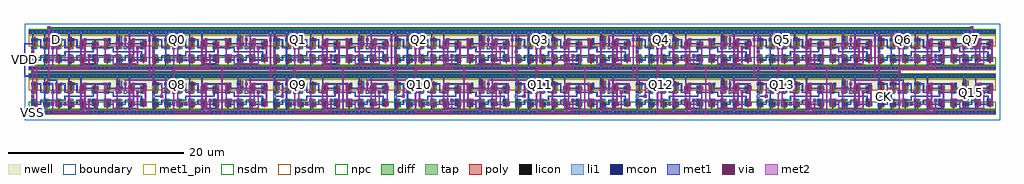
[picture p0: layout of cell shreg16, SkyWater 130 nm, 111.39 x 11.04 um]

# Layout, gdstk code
import gdstk
lib = gdstk.Library(unit=1e-6, precision=1e-09)
def R(c, l, rs):  # rectangles x0, y0, x1, y1
    for r in rs: c.add(gdstk.rectangle(r[:2], r[2:], *l))
def A(c, l, x, y, w, h, nx, ny, dx, dy):  # array of equal rectangles
    R(c, l, [(x+i*dx, y+j*dy, x+i*dx+w, y+j*dy+h) for i in range(nx) for j in range(ny)])
nwell = (64, 20)
diff = (65, 20)
tap = (65, 44)
poly = (66, 20)
licon = (66, 44)
li1 = (67, 20)
mcon = (67, 44)
met1_pin = (68, 16)
met1 = (68, 20)
via = (68, 44)
met2 = (69, 20)
nsdm = (93, 44)
psdm = (94, 20)
npc = (95, 20)
boundary = (235, 4)

dff = lib.new_cell('dff')
R(dff, nwell, [(0,2.44,13.8,4.465)])
A(dff, diff, 0.335, 0.605, 0.71, 0.5, 4, 1, 1.38, 0)
R(dff, diff, [(9.995,0.455,10.705,1.105), (8.615,0.605,9.325,1.105), (5.855,0.685,6.565,1.105), (7.235,0.685,7.945,1.105), (11.375,0.685,12.085,1.105), (12.755,0.685,13.465,1.105), (0.335,2.62,1.045,3.42), (1.715,2.62,2.425,3.42), (3.095,2.62,3.805,3.12), (4.475,2.62,5.185,3.42), (5.855,2.62,6.565,3.04), (7.235,2.62,7.945,3.04), (8.615,2.62,9.325,3.12), (9.995,2.62,10.705,3.62), (11.375,2.62,12.085,3.04), (12.755,2.62,13.465,3.04)])
R(dff, tap, [(0.18,-0.145,13.62,0.145), (0.18,3.995,13.62,4.285)])
A(dff, poly, 0.615, 0.475, 0.15, 0.905, 4, 1, 1.38, 0)
A(dff, poly, 0.525, 1.245, 0.33, 0.27, 10, 2, 1.38, 0.92)
R(dff, poly, [(10.275,0.325,10.425,1.38), (8.895,0.475,9.045,1.38), (6.135,0.555,6.285,1.38), (7.515,0.555,7.665,1.38), (11.655,0.555,11.805,1.38), (13.035,0.555,13.185,1.38), (0.615,2.3,0.765,3.55), (1.995,2.3,2.145,3.55), (3.375,2.3,3.525,3.25), (4.755,2.3,4.905,3.55), (6.135,2.3,6.285,3.17), (7.515,2.3,7.665,3.17), (8.895,2.3,9.045,3.25), (10.275,2.3,10.425,3.75), (11.655,2.3,11.805,3.17), (13.035,2.3,13.185,3.17)])
A(dff, licon, 0.605, -0.085, 0.17, 0.17, 28, 2, 0.46, 4.14)
A(dff, licon, 0.605, 1.295, 0.17, 0.17, 10, 2, 1.38, 0.92)
A(dff, licon, 10.035, 2.695, 0.17, 0.17, 1, 3, 0, 0.34)
A(dff, licon, 10.495, 2.695, 0.17, 0.17, 1, 3, 0, 0.34)
R(dff, licon, [(10.035,0.525,10.205,0.695), (10.495,0.525,10.665,0.695), (0.375,0.77,0.545,0.94), (0.835,0.77,1.005,0.94), (1.755,0.77,1.925,0.94), (2.215,0.77,2.385,0.94), (3.135,0.77,3.305,0.94), (3.595,0.77,3.765,0.94), (4.515,0.77,4.685,0.94), (4.975,0.77,5.145,0.94), (8.655,0.77,8.825,0.94), (9.115,0.77,9.285,0.94), (5.895,0.81,6.065,0.98), (6.355,0.81,6.525,0.98), (7.275,0.81,7.445,0.98), (7.735,0.81,7.905,0.98), (11.415,0.81,11.585,0.98), (11.875,0.81,12.045,0.98), (12.795,0.81,12.965,0.98), (13.255,0.81,13.425,0.98), (10.035,0.865,10.205,1.035), (10.495,0.865,10.665,1.035), (5.895,2.745,6.065,2.915), (6.355,2.745,6.525,2.915), (7.275,2.745,7.445,2.915), (7.735,2.745,7.905,2.915), (11.415,2.745,11.585,2.915), (11.875,2.745,12.045,2.915), (12.795,2.745,12.965,2.915), (13.255,2.745,13.425,2.915), (0.375,2.765,0.545,2.935), (0.835,2.765,1.005,2.935), (1.755,2.765,1.925,2.935), (2.215,2.765,2.385,2.935), (4.515,2.765,4.685,2.935), (4.975,2.765,5.145,2.935), (3.135,2.785,3.305,2.955), (3.595,2.785,3.765,2.955), (8.655,2.785,8.825,2.955), (9.115,2.785,9.285,2.955), (0.375,3.105,0.545,3.275), (0.835,3.105,1.005,3.275), (1.755,3.105,1.925,3.275), (2.215,3.105,2.385,3.275), (4.515,3.105,4.685,3.275), (4.975,3.105,5.145,3.275)])
A(dff, li1, 0.375, 1.295, 0.63, 0.17, 10, 2, 1.38, 0.92)
R(dff, li1, [(0,-0.085,13.8,0.085), (10.035,0.445,10.205,1.115), (10.495,0.445,10.665,1.115), (0.375,0.69,0.545,1.02), (0.835,0.69,1.005,1.02), (1.755,0.69,1.925,1.02), (2.215,0.69,2.385,1.02), (3.135,0.69,3.305,1.02), (3.595,0.69,3.765,1.02), (4.515,0.69,4.685,1.02), (4.975,0.69,5.145,1.02), (8.655,0.69,8.825,1.02), (9.115,0.69,9.285,1.02), (5.895,0.73,6.065,1.06), (6.355,0.73,6.525,1.06), (7.275,0.73,7.445,1.06), (7.735,0.73,7.905,1.06), (11.415,0.73,11.585,1.06), (11.875,0.73,12.045,1.06), (12.795,0.73,12.965,1.06), (13.255,0.73,13.425,1.06), (10.035,2.615,10.205,3.625), (10.495,2.615,10.665,3.625), (5.895,2.665,6.065,2.995), (6.355,2.665,6.525,2.995), (7.275,2.665,7.445,2.995), (7.735,2.665,7.905,2.995), (11.415,2.665,11.585,2.995), (11.875,2.665,12.045,2.995), (12.795,2.665,12.965,2.995), (13.255,2.665,13.425,2.995), (0.375,2.685,0.545,3.355), (0.835,2.685,1.005,3.355), (1.755,2.685,1.925,3.355), (2.215,2.685,2.385,3.355), (4.515,2.685,4.685,3.355), (4.975,2.685,5.145,3.355), (3.135,2.705,3.305,3.305), (3.595,2.705,3.765,3.305), (8.655,2.705,8.825,3.305), (9.115,2.705,9.285,3.305), (0,4.055,13.8,4.225)])
A(dff, mcon, 0.145, -0.085, 0.17, 0.17, 30, 2, 0.46, 4.14)
A(dff, mcon, 0.375, 1.295, 0.17, 0.17, 10, 2, 1.38, 0.92)
R(dff, mcon, [(0.375,0.835,0.545,1.005), (0.835,0.835,1.005,1.005), (1.755,0.835,1.925,1.005), (2.215,0.835,2.385,1.005), (3.135,0.835,3.305,1.005), (3.595,0.835,3.765,1.005), (4.515,0.835,4.685,1.005), (4.975,0.835,5.145,1.005), (5.895,0.835,6.065,1.005), (6.355,0.835,6.525,1.005), (7.275,0.835,7.445,1.005), (7.735,0.835,7.905,1.005), (8.655,0.835,8.825,1.005), (9.115,0.835,9.285,1.005), (10.035,0.835,10.205,1.005), (10.495,0.835,10.665,1.005), (11.415,0.835,11.585,1.005), (11.875,0.835,12.045,1.005), (12.795,0.835,12.965,1.005), (13.255,0.835,13.425,1.005), (5.895,2.675,6.065,2.845), (6.355,2.675,6.525,2.845), (7.275,2.675,7.445,2.845), (7.735,2.675,7.905,2.845), (10.495,2.675,10.665,2.845), (11.415,2.675,11.585,2.845), (11.875,2.675,12.045,2.845), (12.795,2.675,12.965,2.845), (13.255,2.675,13.425,2.845), (0.375,3.135,0.545,3.305), (0.835,3.135,1.005,3.305), (1.755,3.135,1.925,3.305), (2.215,3.135,2.385,3.305), (3.135,3.135,3.305,3.305), (3.595,3.135,3.765,3.305), (4.515,3.135,4.685,3.305), (4.975,3.135,5.145,3.305), (8.655,3.135,8.825,3.305), (9.115,3.135,9.285,3.305), (10.035,3.135,10.205,3.305)])
R(dff, met1_pin, [(0.315,-0.15,0.605,0.15), (0.3,1.68,0.62,2), (10.88,2.14,11.2,2.46), (3.06,3.06,3.38,3.38), (0.315,3.99,0.605,4.29)])
A(dff, met1, 0.85, 0.85, 0.6, 0.14, 4, 2, 1.38, 2.3)
A(dff, met1, 1.31, 0.85, 0.14, 0.6, 3, 1, 4.14, 0)
A(dff, met1, 0.315, 1.235, 0.29, 0.29, 10, 2, 1.38, 0.92)
A(dff, met1, 1.31, 2.23, 0.14, 1.06, 4, 1, 1.38, 0)
A(dff, met1, 1.31, 2.23, 0.6, 0.14, 4, 1, 1.38, 0)
A(dff, met1, 6.37, 2.69, 1.06, 0.14, 3, 1, 2.76, 0)
R(dff, met1, [(0,-0.15,13.8,0.15), (0.39,-0.07,0.53,0.99), (0.39,-0.07,0.53,0.07), (1.77,-0.07,1.91,0.99), (1.77,-0.07,1.91,0.07), (4.53,-0.07,4.67,0.99), (4.53,-0.07,4.67,0.07), (5.91,-0.07,6.05,0.99), (5.91,-0.07,6.05,0.07), (10.05,-0.07,10.19,0.99), (10.05,-0.07,10.19,0.07), (11.43,-0.07,11.57,0.99), (11.43,-0.07,11.57,0.07), (6.28,0.3,6.6,0.62), (6.37,0.39,7.89,0.53), (7.75,0.39,7.89,0.99), (2.6,0.76,2.92,1.08), (3.06,0.76,3.38,1.08), (3.98,0.76,4.3,1.08), (6.28,0.76,6.6,1.08), (7.66,0.76,7.98,1.08), (8.58,0.76,8.9,1.08), (11.8,0.76,12.12,1.08), (13.18,0.76,13.5,1.08), (0.315,0.775,0.605,1.065), (0.775,0.775,1.065,1.065), (1.695,0.775,1.985,1.065), (2.155,0.775,2.445,1.065), (3.075,0.775,3.365,1.065), (3.535,0.775,3.825,1.065), (4.455,0.775,4.745,1.065), (4.915,0.775,5.205,1.065), (5.835,0.775,6.125,1.065), (6.295,0.775,6.585,1.065), (7.215,0.775,7.505,1.065), (7.675,0.775,7.965,1.065), (8.595,0.775,8.885,1.065), (9.055,0.775,9.345,1.065), (9.975,0.775,10.265,1.065), (10.435,0.775,10.725,1.065), (11.355,0.775,11.645,1.065), (11.815,0.775,12.105,1.065), (12.735,0.775,13.025,1.065), (13.195,0.775,13.485,1.065), (6.37,0.85,7.43,0.99), (9.13,0.85,9.73,0.99), (10.51,0.85,11.11,0.99), (10.97,0.85,11.11,1.45), (11.89,0.85,12.95,0.99), (4.44,1.22,4.76,1.54), (5.82,1.22,6.14,1.54), (6.74,1.22,7.06,1.54), (9.04,1.22,9.36,1.54), (9.96,1.22,10.28,1.54), (11.34,1.22,11.66,1.54), (0.39,1.31,0.53,2.37), (1.31,1.31,1.91,1.45), (1.77,1.31,1.91,2.37), (1.77,1.31,3.29,1.45), (3.15,1.31,4.21,1.45), (4.07,1.31,4.21,1.91), (5.45,1.31,6.05,1.45), (6.83,1.31,7.43,1.45), (7.29,1.31,8.81,1.45), (8.67,1.31,9.27,1.45), (9.59,1.31,10.19,1.45), (10.97,1.31,11.57,1.45), (12.81,1.31,12.95,1.91), (0.3,1.68,0.62,2), (4.07,1.77,7.43,1.91), (7.29,1.77,7.43,2.37), (9.59,1.77,12.95,1.91), (9.59,1.77,9.73,2.37), (2.6,2.14,2.92,2.46), (4.44,2.14,4.76,2.46), (5.82,2.14,6.14,2.46), (9.96,2.14,10.28,2.46), (10.88,2.14,11.2,2.46), (11.34,2.14,11.66,2.46), (12.26,2.14,12.58,2.46), (7.29,2.23,8.81,2.37), (8.67,2.23,9.73,2.37), (10.97,2.23,11.11,2.83), (10.97,2.23,11.57,2.37), (12.35,2.23,12.95,2.37), (6.28,2.6,6.6,2.92), (7.66,2.6,7.98,2.92), (9.96,2.6,10.28,2.92), (11.8,2.6,12.12,2.92), (13.18,2.6,13.5,2.92), (5.835,2.615,6.125,2.905), (6.295,2.615,6.585,2.905), (7.215,2.615,7.505,2.905), (7.675,2.615,7.965,2.905), (10.435,2.615,10.725,2.905), (11.355,2.615,11.645,2.905), (11.815,2.615,12.105,2.905), (12.735,2.615,13.025,2.905), (13.195,2.615,13.485,2.905), (5.91,2.69,6.05,4.21), (9.13,2.69,9.27,3.29), (10.51,2.69,11.11,2.83), (11.43,2.69,11.57,4.21), (13.27,2.69,13.41,3.29), (3.06,3.06,3.38,3.38), (3.06,3.06,3.38,3.38), (6.28,3.06,6.6,3.38), (8.58,3.06,8.9,3.38), (11.8,3.06,12.12,3.38), (0.315,3.075,0.605,3.365), (0.775,3.075,1.065,3.365), (1.695,3.075,1.985,3.365), (2.155,3.075,2.445,3.365), (3.075,3.075,3.365,3.365), (3.535,3.075,3.825,3.365), (4.455,3.075,4.745,3.365), (4.915,3.075,5.205,3.365), (8.595,3.075,8.885,3.365), (9.055,3.075,9.345,3.365), (9.975,3.075,10.265,3.365), (0.39,3.15,0.53,4.21), (1.77,3.15,1.91,4.21), (4.53,3.15,4.67,4.21), (6.37,3.15,8.81,3.29), (10.05,3.15,10.19,4.21), (11.89,3.15,13.41,3.29), (0,3.99,13.8,4.29), (0.39,4.07,0.53,4.21), (1.77,4.07,1.91,4.21), (4.53,4.07,4.67,4.21), (5.91,4.07,6.05,4.21), (10.05,4.07,10.19,4.21), (11.43,4.07,11.57,4.21)])
R(dff, via, [(6.365,0.385,6.515,0.535), (2.685,0.845,2.835,0.995), (3.145,0.845,3.295,0.995), (4.065,0.845,4.215,0.995), (6.365,0.845,6.515,0.995), (7.745,0.845,7.895,0.995), (8.665,0.845,8.815,0.995), (11.885,0.845,12.035,0.995), (13.265,0.845,13.415,0.995), (4.525,1.305,4.675,1.455), (5.905,1.305,6.055,1.455), (6.825,1.305,6.975,1.455), (9.125,1.305,9.275,1.455), (10.045,1.305,10.195,1.455), (11.425,1.305,11.575,1.455), (2.685,2.225,2.835,2.375), (4.525,2.225,4.675,2.375), (5.905,2.225,6.055,2.375), (10.045,2.225,10.195,2.375), (11.425,2.225,11.575,2.375), (12.345,2.225,12.495,2.375), (6.365,2.685,6.515,2.835), (7.745,2.685,7.895,2.835), (10.045,2.685,10.195,2.835), (11.885,2.685,12.035,2.835), (13.265,2.685,13.415,2.835), (3.145,3.145,3.295,3.295), (6.365,3.145,6.515,3.295), (8.665,3.145,8.815,3.295), (11.885,3.145,12.035,3.295)])
R(dff, met2, [(2.69,-0.07,2.83,0.99), (2.69,-0.07,6.97,0.07), (6.83,-0.07,6.97,1.45), (6.28,0.3,6.6,0.62), (5.91,0.39,6.51,0.53), (5.91,0.39,6.05,0.99), (9.59,0.39,9.73,1.45), (9.59,0.39,12.49,0.53), (12.35,0.39,12.49,2.37), (2.6,0.76,2.92,1.08), (3.06,0.76,3.38,1.08), (3.98,0.76,4.3,1.08), (6.28,0.76,6.6,1.08), (7.66,0.76,7.98,1.08), (8.58,0.76,8.9,1.08), (11.8,0.76,12.12,1.08), (13.18,0.76,13.5,1.08), (2.69,0.85,2.83,2.37), (3.15,0.85,3.29,3.29), (4.07,0.85,4.67,0.99), (4.53,0.85,4.67,1.45), (4.53,0.85,6.05,0.99), (6.37,0.85,6.51,2.83), (7.75,0.85,7.89,2.83), (8.67,0.85,8.81,3.29), (11.89,0.85,12.03,2.83), (13.27,0.85,13.41,2.83), (4.44,1.22,4.76,1.54), (5.82,1.22,6.14,1.54), (6.74,1.22,7.06,1.54), (9.04,1.22,9.36,1.54), (9.96,1.22,10.28,1.54), (11.34,1.22,11.66,1.54), (4.53,1.31,4.67,2.37), (5.91,1.31,6.05,2.37), (9.13,1.31,9.73,1.45), (10.05,1.31,10.19,2.37), (11.43,1.31,11.57,2.37), (2.6,2.14,2.92,2.46), (4.44,2.14,4.76,2.46), (5.82,2.14,6.14,2.46), (9.96,2.14,10.28,2.46), (11.34,2.14,11.66,2.46), (12.26,2.14,12.58,2.46), (5.91,2.23,6.05,3.29), (10.05,2.23,10.19,2.83), (6.28,2.6,6.6,2.92), (7.66,2.6,7.98,2.92), (9.96,2.6,10.28,2.92), (11.8,2.6,12.12,2.92), (13.18,2.6,13.5,2.92), (10.05,2.69,11.57,2.83), (11.43,2.69,11.57,3.29), (3.06,3.06,3.38,3.38), (6.28,3.06,6.6,3.38), (8.58,3.06,8.9,3.38), (11.8,3.06,12.12,3.38), (5.91,3.15,6.51,3.29), (11.43,3.15,12.03,3.29)])
R(dff, nsdm, [(0,0.33,13.8,1.23), (0,3.87,13.8,4.41)])
R(dff, psdm, [(0,-0.27,13.8,0.27), (0,2.495,13.8,3.745)])
A(dff, npc, 0.505, 1.195, 0.37, 0.37, 10, 2, 1.38, 0.92)
R(dff, boundary, [(0,0,13.8,4.14)])
dff.add(gdstk.Label('CKB', (0.92,0.855), layer=67, texttype=5))
dff.add(gdstk.Label('CKI', (2.3,0.855), layer=67, texttype=5))
dff.add(gdstk.Label('m1', (3.68,0.855), layer=67, texttype=5))
dff.add(gdstk.Label('m2', (5.06,0.855), layer=67, texttype=5))
dff.add(gdstk.Label('m3', (6.44,0.895), layer=67, texttype=5))
dff.add(gdstk.Label('s1', (9.2,0.855), layer=67, texttype=5))
dff.add(gdstk.Label('s3', (11.96,0.895), layer=67, texttype=5))
dff.add(gdstk.Label('D', (3.22,3.22), layer=68, texttype=5))
dff.add(gdstk.Label('CLK', (0.46,1.84), layer=68, texttype=5))
dff.add(gdstk.Label('Q', (11.04,2.3), layer=68, texttype=5))
dff.add(gdstk.Label('VPWR', (0.46,4.14), layer=68, texttype=5))
dff.add(gdstk.Label('VGND', (0.46,0), layer=68, texttype=5))
dff.add(gdstk.Label('D', (3.22,3.22), layer=68, texttype=16))
dff.add(gdstk.Label('CLK', (0.46,1.84), layer=68, texttype=16))
dff.add(gdstk.Label('Q', (11.04,2.3), layer=68, texttype=16))
dff.add(gdstk.Label('VPWR', (0.46,4.14), layer=68, texttype=16))
dff.add(gdstk.Label('VGND', (0.46,0), layer=68, texttype=16))

shreg16 = lib.new_cell('shreg16')
A(shreg16, met1_pin, 17.41, 4.07, 0.14, 0.14, 7, 2, 13.8, 5.06)
R(shreg16, met1_pin, [(0.85,0.85,0.99,0.99), (97.45,2.69,98.51,2.83), (107.94,3.06,108.26,3.38), (-0.07,4.99,0.07,8.81), (3.52,9.04,3.84,9.36), (107.94,9.04,108.26,9.36)])
A(shreg16, met1, 22.38, 0.76, 0.32, 0.32, 6, 2, 13.8, 5.06)
A(shreg16, met1, 0.85, 0.85, 0.14, 0.14, 8, 2, 13.8, 1.84)
A(shreg16, met1, 22.47, 0.85, 6.12, 0.14, 6, 1, 13.8, 0)
A(shreg16, met1, 15.48, 2.6, 0.32, 0.32, 7, 1, 13.8, 0)
A(shreg16, met1, 14.65, 2.69, 1.06, 0.14, 7, 1, 13.8, 0)
A(shreg16, met1, 11.43, 3.15, 0.14, 0.14, 7, 1, 13.8, 0)
A(shreg16, met1, 11.43, 3.15, 0.14, 1.06, 7, 1, 13.8, 0)
A(shreg16, met1, 11.34, 3.98, 0.32, 0.32, 7, 1, 13.8, 0)
A(shreg16, met1, 3.61, 4.07, 0.14, 0.14, 8, 1, 13.8, 0)
A(shreg16, met1, 3.61, 4.07, 0.14, 0.6, 8, 1, 13.8, 0)
A(shreg16, met1, 2.6, 4.44, 0.32, 0.32, 8, 1, 13.8, 0)
A(shreg16, met1, 2.69, 4.53, 1.06, 0.14, 8, 1, 13.8, 0)
A(shreg16, met1, 14.1, 4.9, 0.32, 0.32, 7, 1, 13.8, 0)
A(shreg16, met1, 0.85, 4.99, 0.14, 0.14, 8, 2, 13.8, 0.92)
A(shreg16, met1, 14.19, 4.99, 0.6, 0.14, 7, 1, 13.8, 0)
A(shreg16, met1, 14.65, 5.45, 2.44, 0.14, 7, 1, 13.8, 0)
A(shreg16, met1, 16.95, 5.45, 11.64, 0.14, 6, 1, 13.8, 0)
A(shreg16, met1, 14.65, 5.91, 13.94, 0.14, 6, 1, 13.8, 0)
A(shreg16, met1, 0.76, 7.66, 0.32, 0.32, 8, 1, 13.8, 0)
A(shreg16, met1, 0.85, 7.75, 0.14, 0.14, 8, 2, 13.8, 2.3)
A(shreg16, met1, 11.43, 8.21, 0.14, 0.14, 8, 1, 13.8, 0)
A(shreg16, met1, 11.43, 8.21, 0.14, 1.06, 8, 1, 13.8, 0)
A(shreg16, met1, 14.19, 9.13, 0.14, 1.06, 7, 1, 13.8, 0)
A(shreg16, met1, 17.41, 9.13, 0.14, 0.14, 7, 1, 13.8, 0)
A(shreg16, met1, 17.41, 9.13, 0.14, 0.6, 7, 1, 13.8, 0)
A(shreg16, met1, 16.4, 9.5, 0.32, 0.32, 7, 1, 13.8, 0)
A(shreg16, met1, 16.49, 9.59, 1.06, 0.14, 7, 1, 13.8, 0)
A(shreg16, met1, 0.85, 10.05, 13.94, 0.14, 7, 1, 13.8, 0)
R(shreg16, met1, [(1.22,0.76,1.54,1.08), (0.85,0.85,1.45,0.99), (1.31,0.85,14.79,0.99), (0.76,2.6,1.08,2.92), (-0.07,4.99,0.99,5.13), (-0.07,4.99,0.07,8.81), (0.76,5.36,1.08,5.68), (14.56,5.36,14.88,5.68), (16.86,5.36,17.18,5.68), (28.36,5.36,28.68,5.68), (30.66,5.36,30.98,5.68), (42.16,5.36,42.48,5.68), (44.46,5.36,44.78,5.68), (55.96,5.36,56.28,5.68), (58.26,5.36,58.58,5.68), (69.76,5.36,70.08,5.68), (72.06,5.36,72.38,5.68), (83.56,5.36,83.88,5.68), (85.86,5.36,86.18,5.68), (97.36,5.36,97.68,5.68), (99.66,5.36,99.98,5.68), (0.85,5.45,14.79,5.59), (1.22,5.82,1.54,6.14), (0.85,5.91,1.45,6.05), (1.31,5.91,14.79,6.05), (-0.07,8.67,0.99,8.81), (0.85,8.67,0.99,10.19), (11.34,9.04,11.66,9.36), (14.1,9.04,14.42,9.36), (25.14,9.04,25.46,9.36), (27.9,9.04,28.22,9.36), (38.94,9.04,39.26,9.36), (41.7,9.04,42.02,9.36), (52.74,9.04,53.06,9.36), (55.5,9.04,55.82,9.36), (66.54,9.04,66.86,9.36), (69.3,9.04,69.62,9.36), (80.34,9.04,80.66,9.36), (83.1,9.04,83.42,9.36), (94.14,9.04,94.46,9.36), (96.9,9.04,97.22,9.36), (107.94,9.04,108.26,9.36), (2.6,10.42,2.92,10.74), (107.94,10.42,108.26,10.74), (2.69,10.51,108.17,10.65)])
A(shreg16, via, 22.465, 0.845, 0.15, 0.15, 6, 2, 13.8, 5.06)
A(shreg16, via, 15.565, 2.685, 0.15, 0.15, 7, 1, 13.8, 0)
A(shreg16, via, 11.425, 4.065, 0.15, 0.15, 7, 1, 13.8, 0)
A(shreg16, via, 2.685, 4.525, 0.15, 0.15, 8, 1, 13.8, 0)
A(shreg16, via, 14.185, 4.985, 0.15, 0.15, 7, 1, 13.8, 0)
A(shreg16, via, 0.845, 7.745, 0.15, 0.15, 8, 1, 13.8, 0)
A(shreg16, via, 16.485, 9.585, 0.15, 0.15, 7, 1, 13.8, 0)
R(shreg16, via, [(1.305,0.845,1.455,0.995), (0.845,2.685,0.995,2.835), (0.845,5.445,0.995,5.595), (14.645,5.445,14.795,5.595), (16.945,5.445,17.095,5.595), (28.445,5.445,28.595,5.595), (30.745,5.445,30.895,5.595), (42.245,5.445,42.395,5.595), (44.545,5.445,44.695,5.595), (56.045,5.445,56.195,5.595), (58.345,5.445,58.495,5.595), (69.845,5.445,69.995,5.595), (72.145,5.445,72.295,5.595), (83.645,5.445,83.795,5.595), (85.945,5.445,86.095,5.595), (97.445,5.445,97.595,5.595), (99.745,5.445,99.895,5.595), (1.305,5.905,1.455,6.055), (11.425,9.125,11.575,9.275), (14.185,9.125,14.335,9.275), (25.225,9.125,25.375,9.275), (27.985,9.125,28.135,9.275), (39.025,9.125,39.175,9.275), (41.785,9.125,41.935,9.275), (52.825,9.125,52.975,9.275), (55.585,9.125,55.735,9.275), (66.625,9.125,66.775,9.275), (69.385,9.125,69.535,9.275), (80.425,9.125,80.575,9.275), (83.185,9.125,83.335,9.275), (94.225,9.125,94.375,9.275), (96.985,9.125,97.135,9.275), (108.025,9.125,108.175,9.275), (2.685,10.505,2.835,10.655), (108.025,10.505,108.175,10.655)])
A(shreg16, met2, 22.38, 0.76, 0.32, 0.32, 6, 2, 13.8, 5.06)
A(shreg16, met2, 22.47, 0.85, 0.14, 5.2, 6, 1, 13.8, 0)
A(shreg16, met2, 15.48, 2.6, 0.32, 0.32, 7, 1, 13.8, 0)
A(shreg16, met2, 15.57, 2.69, 0.14, 1.06, 7, 1, 13.8, 0)
A(shreg16, met2, 15.57, 3.61, 1.52, 0.14, 7, 1, 13.8, 0)
A(shreg16, met2, 16.95, 3.61, 0.14, 1.98, 7, 1, 13.8, 0)
A(shreg16, met2, 11.34, 3.98, 0.32, 0.32, 7, 1, 13.8, 0)
A(shreg16, met2, 11.43, 4.07, 0.14, 0.6, 7, 2, 13.8, 5.06)
A(shreg16, met2, 2.6, 4.44, 0.32, 0.32, 8, 1, 13.8, 0)
A(shreg16, met2, 11.43, 4.53, 5.2, 0.14, 7, 2, 13.8, 5.06)
A(shreg16, met2, 14.1, 4.9, 0.32, 0.32, 7, 1, 13.8, 0)
A(shreg16, met2, 14.19, 4.99, 0.14, 4.28, 7, 1, 13.8, 0)
A(shreg16, met2, 14.65, 5.45, 0.14, 2.44, 7, 1, 13.8, 0)
A(shreg16, met2, 0.76, 7.66, 0.32, 0.32, 8, 1, 13.8, 0)
A(shreg16, met2, 16.4, 9.5, 0.32, 0.32, 7, 1, 13.8, 0)
R(shreg16, met2, [(1.22,0.76,1.54,1.08), (1.31,0.85,1.45,6.05), (0.76,2.6,1.08,2.92), (0.85,2.69,0.99,7.89), (2.69,4.53,2.83,10.65), (0.76,5.36,1.08,5.68), (14.56,5.36,14.88,5.68), (16.86,5.36,17.18,5.68), (28.36,5.36,28.68,5.68), (30.66,5.36,30.98,5.68), (42.16,5.36,42.48,5.68), (44.46,5.36,44.78,5.68), (55.96,5.36,56.28,5.68), (58.26,5.36,58.58,5.68), (69.76,5.36,70.08,5.68), (72.06,5.36,72.38,5.68), (83.56,5.36,83.88,5.68), (85.86,5.36,86.18,5.68), (97.36,5.36,97.68,5.68), (99.66,5.36,99.98,5.68), (1.22,5.82,1.54,6.14), (11.34,9.04,11.66,9.36), (14.1,9.04,14.42,9.36), (25.14,9.04,25.46,9.36), (27.9,9.04,28.22,9.36), (38.94,9.04,39.26,9.36), (41.7,9.04,42.02,9.36), (52.74,9.04,53.06,9.36), (55.5,9.04,55.82,9.36), (66.54,9.04,66.86,9.36), (69.3,9.04,69.62,9.36), (80.34,9.04,80.66,9.36), (83.1,9.04,83.42,9.36), (94.14,9.04,94.46,9.36), (96.9,9.04,97.22,9.36), (107.94,9.04,108.26,9.36), (108.03,9.13,108.17,10.65), (2.6,10.42,2.92,10.74), (107.94,10.42,108.26,10.74)])
R(shreg16, boundary, [(0,0,111.32,11.04)])
shreg16.add(gdstk.Reference(dff, (0.46,5.98)))
shreg16.add(gdstk.Reference(dff, (14.26,5.98)))
shreg16.add(gdstk.Reference(dff, (28.06,5.98)))
shreg16.add(gdstk.Reference(dff, (41.86,5.98)))
shreg16.add(gdstk.Reference(dff, (55.66,5.98)))
shreg16.add(gdstk.Reference(dff, (69.46,5.98)))
shreg16.add(gdstk.Reference(dff, (83.26,5.98)))
shreg16.add(gdstk.Reference(dff, (97.06,5.98)))
shreg16.add(gdstk.Reference(dff, (0.46,0.92)))
shreg16.add(gdstk.Reference(dff, (14.26,0.92)))
shreg16.add(gdstk.Reference(dff, (28.06,0.92)))
shreg16.add(gdstk.Reference(dff, (41.86,0.92)))
shreg16.add(gdstk.Reference(dff, (55.66,0.92)))
shreg16.add(gdstk.Reference(dff, (69.46,0.92)))
shreg16.add(gdstk.Reference(dff, (83.26,0.92)))
shreg16.add(gdstk.Reference(dff, (97.06,0.92)))
shreg16.add(gdstk.Label('VSS', (0.92,0.92), layer=68, texttype=5))
shreg16.add(gdstk.Label('VDD', (0,6.9), layer=68, texttype=5))
shreg16.add(gdstk.Label('D', (3.68,9.2), layer=68, texttype=5))
shreg16.add(gdstk.Label('CK', (97.98,2.76), layer=68, texttype=5))
shreg16.add(gdstk.Label('Q0', (17.48,9.2), layer=68, texttype=5))
shreg16.add(gdstk.Label('Q1', (31.28,9.2), layer=68, texttype=5))
shreg16.add(gdstk.Label('Q2', (45.08,9.2), layer=68, texttype=5))
shreg16.add(gdstk.Label('Q3', (58.88,9.2), layer=68, texttype=5))
shreg16.add(gdstk.Label('Q4', (72.68,9.2), layer=68, texttype=5))
shreg16.add(gdstk.Label('Q5', (86.48,9.2), layer=68, texttype=5))
shreg16.add(gdstk.Label('Q6', (100.28,9.2), layer=68, texttype=5))
shreg16.add(gdstk.Label('Q7', (108.1,9.2), layer=68, texttype=5))
shreg16.add(gdstk.Label('Q8', (17.48,4.14), layer=68, texttype=5))
shreg16.add(gdstk.Label('Q9', (31.28,4.14), layer=68, texttype=5))
shreg16.add(gdstk.Label('Q10', (45.08,4.14), layer=68, texttype=5))
shreg16.add(gdstk.Label('Q11', (58.88,4.14), layer=68, texttype=5))
shreg16.add(gdstk.Label('Q12', (72.68,4.14), layer=68, texttype=5))
shreg16.add(gdstk.Label('Q13', (86.48,4.14), layer=68, texttype=5))
shreg16.add(gdstk.Label('Q14', (100.28,4.14), layer=68, texttype=5))
shreg16.add(gdstk.Label('Q15', (108.1,3.22), layer=68, texttype=5))
shreg16.add(gdstk.Label('VSS', (0.92,0.92), layer=68, texttype=16))
shreg16.add(gdstk.Label('VDD', (0,6.9), layer=68, texttype=16))
shreg16.add(gdstk.Label('D', (3.68,9.2), layer=68, texttype=16))
shreg16.add(gdstk.Label('CK', (97.98,2.76), layer=68, texttype=16))
shreg16.add(gdstk.Label('Q0', (17.48,9.2), layer=68, texttype=16))
shreg16.add(gdstk.Label('Q1', (31.28,9.2), layer=68, texttype=16))
shreg16.add(gdstk.Label('Q2', (45.08,9.2), layer=68, texttype=16))
shreg16.add(gdstk.Label('Q3', (58.88,9.2), layer=68, texttype=16))
shreg16.add(gdstk.Label('Q4', (72.68,9.2), layer=68, texttype=16))
shreg16.add(gdstk.Label('Q5', (86.48,9.2), layer=68, texttype=16))
shreg16.add(gdstk.Label('Q6', (100.28,9.2), layer=68, texttype=16))
shreg16.add(gdstk.Label('Q7', (108.1,9.2), layer=68, texttype=16))
shreg16.add(gdstk.Label('Q8', (17.48,4.14), layer=68, texttype=16))
shreg16.add(gdstk.Label('Q9', (31.28,4.14), layer=68, texttype=16))
shreg16.add(gdstk.Label('Q10', (45.08,4.14), layer=68, texttype=16))
shreg16.add(gdstk.Label('Q11', (58.88,4.14), layer=68, texttype=16))
shreg16.add(gdstk.Label('Q12', (72.68,4.14), layer=68, texttype=16))
shreg16.add(gdstk.Label('Q13', (86.48,4.14), layer=68, texttype=16))
shreg16.add(gdstk.Label('Q14', (100.28,4.14), layer=68, texttype=16))
shreg16.add(gdstk.Label('Q15', (108.1,3.22), layer=68, texttype=16))

lib.write_gds('shreg16.gds')
